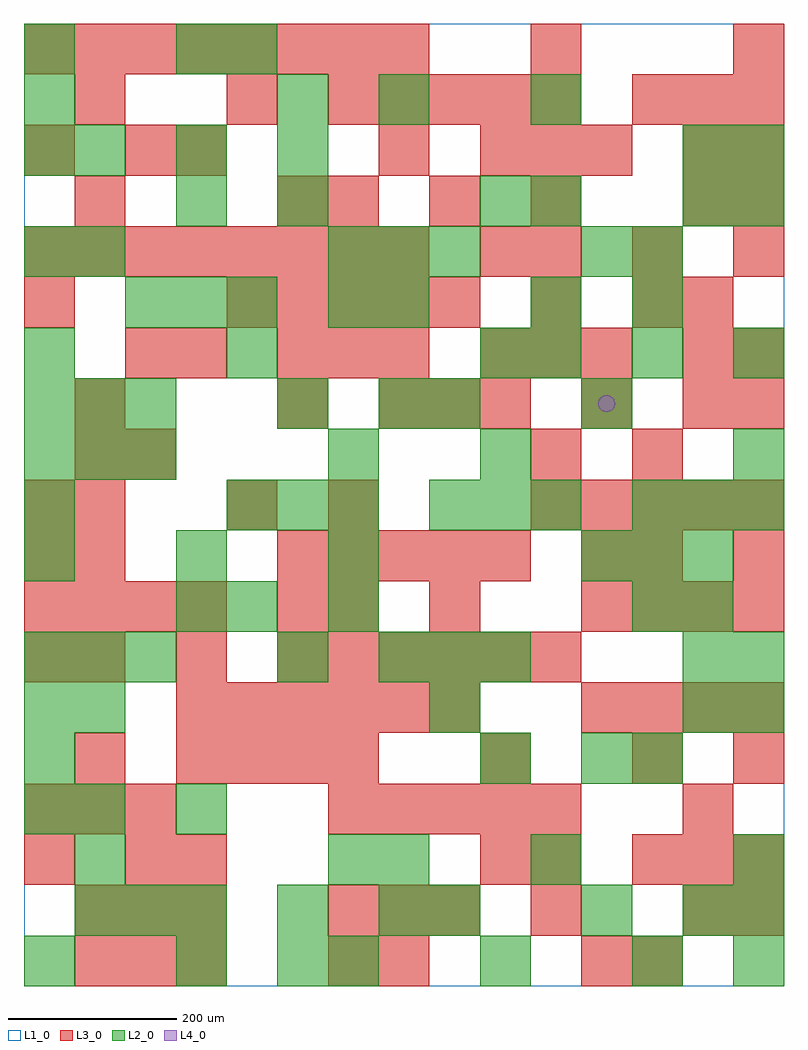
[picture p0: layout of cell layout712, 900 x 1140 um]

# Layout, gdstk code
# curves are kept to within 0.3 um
import gdstk
lib = gdstk.Library(unit=1e-6, precision=1e-09)
def R(c, l, rs):  # rectangles x0, y0, x1, y1
    for r in rs: c.add(gdstk.rectangle(r[:2], r[2:], *l))
def A(c, l, x, y, w, h, nx, ny, dx, dy):  # array of equal rectangles
    R(c, l, [(x+i*dx, y+j*dy, x+i*dx+w, y+j*dy+h) for i in range(nx) for j in range(ny)])
def P(c, l, *ps):  # polygons
    for p in ps: c.add(gdstk.Polygon(p, *l))
L1_0 = (1, 0)
L2_0 = (2, 0)
L3_0 = (3, 0)
L4_0 = (4, 0)

layout712 = lib.new_cell('layout712')
R(layout712, L1_0, [(0,0,900,1140)])
A(layout712, L2_0, 360, 0, 60, 60, 3, 1, 180, 0)
A(layout712, L2_0, 840, 0, 60, 60, 1, 3, 0, 60)
A(layout712, L2_0, 60, 60, 60, 60, 3, 1, 60, 0)
A(layout712, L2_0, 300, 60, 60, 60, 1, 3, 0, 300)
A(layout712, L2_0, 0, 180, 60, 60, 1, 3, 0, 60)
A(layout712, L2_0, 780, 300, 60, 60, 1, 3, 0, 60)
A(layout712, L2_0, 0, 360, 60, 60, 3, 2, 60, 240)
A(layout712, L2_0, 420, 360, 60, 60, 3, 1, 60, 0)
A(layout712, L2_0, 360, 420, 60, 60, 1, 3, 0, 180)
A(layout712, L2_0, 0, 480, 60, 60, 3, 1, 180, 0)
A(layout712, L2_0, 660, 480, 60, 60, 3, 1, 60, 0)
A(layout712, L2_0, 240, 540, 60, 60, 3, 1, 60, 0)
A(layout712, L2_0, 480, 540, 60, 60, 3, 1, 60, 0)
A(layout712, L2_0, 720, 540, 60, 60, 3, 1, 60, 0)
A(layout712, L2_0, 0, 660, 60, 60, 3, 1, 60, 0)
A(layout712, L2_0, 0, 720, 60, 60, 1, 3, 0, 120)
A(layout712, L2_0, 600, 720, 60, 60, 3, 1, 120, 0)
A(layout712, L2_0, 120, 780, 60, 60, 3, 1, 60, 0)
A(layout712, L2_0, 600, 780, 60, 60, 1, 3, 0, 120)
A(layout712, L2_0, 360, 840, 60, 60, 3, 1, 60, 0)
A(layout712, L2_0, 60, 960, 60, 60, 3, 1, 120, 0)
R(layout712, L2_0, [(0,0,60,60), (180,0,240,60), (300,0,360,60), (420,60,480,120), (480,60,540,120), (660,60,720,120), (780,60,840,120), (60,120,120,180), (360,120,420,180), (420,120,480,180), (600,120,660,180), (60,180,120,240), (180,180,240,240), (540,240,600,300), (660,240,720,300), (720,240,780,300), (60,300,120,360), (480,300,540,360), (840,300,900,360), (840,360,900,420), (180,420,240,480), (240,420,300,480), (720,420,780,480), (0,540,60,600), (540,600,600,660), (840,600,900,660), (420,660,480,720), (480,660,540,720), (660,660,720,720), (240,720,300,780), (540,720,600,780), (420,780,480,840), (720,780,780,840), (60,840,120,900), (660,840,720,900), (720,840,780,900), (180,900,240,960), (300,900,360,960), (540,900,600,960), (780,900,840,960), (840,900,900,960), (780,960,840,1020), (840,960,900,1020), (0,1020,60,1080), (300,1020,360,1080), (420,1020,480,1080), (0,1080,60,1140), (180,1080,240,1140), (240,1080,300,1140)])
A(layout712, L3_0, 60, 0, 60, 60, 3, 2, 60, 60)
A(layout712, L3_0, 720, 0, 60, 60, 1, 3, 0, 240)
A(layout712, L3_0, 360, 60, 60, 60, 3, 1, 60, 0)
A(layout712, L3_0, 720, 120, 60, 60, 3, 2, 60, 900)
A(layout712, L3_0, 0, 180, 60, 60, 3, 1, 60, 0)
A(layout712, L3_0, 360, 180, 60, 60, 5, 2, 60, 180)
A(layout712, L3_0, 180, 240, 60, 60, 4, 1, 60, 0)
A(layout712, L3_0, 180, 300, 60, 60, 6, 1, 60, 0)
A(layout712, L3_0, 660, 300, 60, 60, 4, 2, 60, 120)
A(layout712, L3_0, 60, 360, 60, 60, 3, 1, 120, 0)
A(layout712, L3_0, 0, 420, 60, 60, 4, 1, 60, 0)
A(layout712, L3_0, 300, 420, 60, 60, 1, 3, 0, 240)
A(layout712, L3_0, 60, 480, 60, 60, 1, 4, 0, 60)
A(layout712, L3_0, 300, 480, 60, 60, 5, 1, 60, 0)
A(layout712, L3_0, 600, 540, 60, 60, 5, 1, 60, 0)
A(layout712, L3_0, 420, 660, 60, 60, 3, 1, 60, 0)
A(layout712, L3_0, 780, 660, 60, 60, 1, 3, 0, 60)
A(layout712, L3_0, 300, 720, 60, 60, 3, 1, 60, 0)
A(layout712, L3_0, 540, 720, 60, 60, 3, 2, 60, 240)
A(layout712, L3_0, 240, 780, 60, 60, 5, 1, 60, 0)
A(layout712, L3_0, 0, 840, 60, 60, 8, 2, 60, 240)
A(layout712, L3_0, 600, 840, 60, 60, 3, 1, 120, 0)
A(layout712, L3_0, 360, 900, 60, 60, 3, 1, 120, 0)
A(layout712, L3_0, 360, 1020, 60, 60, 5, 1, 60, 0)
R(layout712, L3_0, [(360,0,420,60), (420,0,480,60), (660,0,720,60), (600,60,660,120), (780,60,840,120), (840,60,900,120), (0,120,60,180), (120,120,180,180), (180,120,240,180), (540,120,600,180), (600,120,660,180), (780,180,840,240), (60,240,120,300), (540,240,600,300), (840,240,900,300), (0,360,60,420), (360,420,420,480), (480,420,540,480), (0,480,60,540), (660,480,720,540), (840,480,900,540), (0,540,60,600), (240,540,300,600), (360,540,420,600), (120,600,180,660), (600,600,660,660), (720,600,780,660), (660,660,720,720), (840,660,900,720), (120,720,180,780), (180,720,240,780), (840,720,900,780), (0,780,60,840), (600,780,660,840), (720,780,780,840), (540,840,600,900), (60,900,120,960), (780,900,840,960), (840,900,900,960), (0,960,60,1020), (120,960,180,1020), (180,960,240,1020), (420,960,480,1020), (780,960,840,1020), (840,960,900,1020), (60,1020,120,1080), (240,1020,300,1080), (600,1080,660,1140), (840,1080,900,1140)])
P(layout712, L4_0, [(700,690),(699.239,693.827),(697.071,697.071),(693.827,699.239),(690,700),(686.173,699.239),(682.929,697.071),(680.761,693.827),(680,690),(680.761,686.173),(682.929,682.929),(686.173,680.761),(690,680),(693.827,680.761),(697.071,682.929),(699.239,686.173)])

lib.write_gds('layout712.gds')
